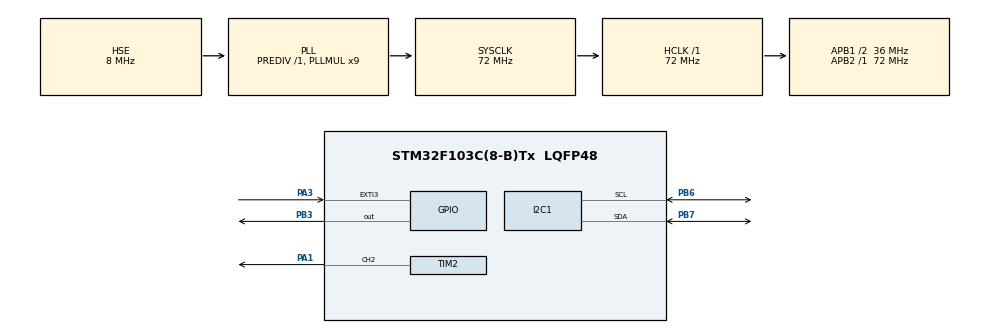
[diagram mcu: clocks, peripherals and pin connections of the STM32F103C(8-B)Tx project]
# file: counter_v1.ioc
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Mcu.Family=STM32F1
Mcu.Name=STM32F103C(8-B)Tx
Mcu.Package=LQFP48
NVIC.EXTI3_IRQn=true\:0\:0\:false\:false\:true\:true\:true\:true
NVIC.PriorityGroup=NVIC_PRIORITYGROUP_4
PA1.Signal=S_TIM2_CH2
PA13.Mode=Serial_Wire
PA13.Signal=SYS_JTMS-SWDIO
PA14.Mode=Serial_Wire
PA14.Signal=SYS_JTCK-SWCLK
PA3.GPIO_ModeDefaultEXTI=GPIO_MODE_IT_FALLING
PA3.GPIO_PuPd=GPIO_NOPULL
PA3.Signal=GPXTI3
PB3.Signal=GPIO_Output
PB6.Mode=I2C
PB6.Signal=I2C1_SCL
PB7.Mode=I2C
PB7.Signal=I2C1_SDA
PD0-OSC_IN.Mode=HSE-External-Oscillator
PD0-OSC_IN.Signal=RCC_OSC_IN
PD1-OSC_OUT.Mode=HSE-External-Oscillator
PD1-OSC_OUT.Signal=RCC_OSC_OUT
ProjectManager.HeapSize=0x200
ProjectManager.StackSize=0x400
ProjectManager.TargetToolchain=MDK-ARM V5.32
RCC.ADCPresc=RCC_ADCPCLK2_DIV6
RCC.AHBFreq_Value=72000000
RCC.APB1CLKDivider=RCC_HCLK_DIV2
RCC.APB1Freq_Value=36000000
RCC.APB1TimFreq_Value=72000000
RCC.APB2Freq_Value=72000000
RCC.APB2TimFreq_Value=72000000
RCC.HCLKFreq_Value=72000000
RCC.PLLMUL=RCC_PLL_MUL9
RCC.PLLSourceVirtual=RCC_PLLSOURCE_HSE
RCC.SYSCLKFreq_VALUE=72000000
RCC.SYSCLKSource=RCC_SYSCLKSOURCE_PLLCLK
RCC.USBFreq_Value=72000000
SH.S_TIM2_CH2.0=TIM2_CH2,PWM Generation2 CH2
TIM2.AutoReloadPreload=TIM_AUTORELOAD_PRELOAD_ENABLE
TIM2.Channel-PWM\ Generation2\ CH2=TIM_CHANNEL_2
TIM2.Period=1894
TIM2.Prescaler=1
TIM2.Pulse-PWM\ Generation2\ CH2=947
board=custom

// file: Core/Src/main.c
/* USER CODE BEGIN Header */
/**
  ******************************************************************************
  * @file           : main.c
  * @brief          : Main program body
  ******************************************************************************
  * @attention
  *
  * Copyright (c) 2025 STMicroelectronics.
  * All rights reserved.
  *
  * This software is licensed under terms that can be found in the LICENSE file
  * in the root directory of this software component.
  * If no LICENSE file comes with this software, it is provided AS-IS.
  *
  ******************************************************************************
  */
/* USER CODE END Header */
#include "main.h"

/* USER CODE BEGIN Includes */
#include "i2c_lcd.h"
volatile int count_drops = 0;
/* USER CODE END Includes */

I2C_HandleTypeDef hi2c1;

TIM_HandleTypeDef htim2;

void SystemClock_Config(void);
static void MX_GPIO_Init(void);
static void MX_TIM2_Init(void);
static void MX_I2C1_Init(void);
/* USER CODE BEGIN PFP */
I2C_LCD_HandleTypeDef lcd;
void init_lcd(void) {
    lcd.hi2c = &hi2c1;     // hi2c1 is your I2C handler
    lcd.address = 0x4e;    // I2C address for the first LCD
    lcd_init(&lcd);        // Initialize the first LCD
}
/* USER CODE END PFP */

/* USER CODE BEGIN 0 */
void HAL_GPIO_EXTI_Callback(uint16_t GPIO_Pin)
{
    if (GPIO_Pin == GPIO_PIN_3)
    {
				count_drops++;
				HAL_GPIO_TogglePin(GPIOB,GPIO_PIN_3);
    }
}
/* USER CODE END 0 */

int main(void)
{

  /* MCU Configuration--------------------------------------------------------*/

  /* Reset of all peripherals, Initializes the Flash interface and the Systick. */
  HAL_Init();

  /* USER CODE BEGIN Init */
  /* Reset of all peripherals, Initializes the Flash interface and the Systick. */
  HAL_Init();

  /* USER CODE END Init */

  /* Configure the system clock */
  SystemClock_Config();

  /* Initialize all configured peripherals */
  MX_GPIO_Init();
  MX_TIM2_Init();
  MX_I2C1_Init();
  /* USER CODE BEGIN 2 */
	init_lcd();
	lcd_gotoxy(&lcd, 1, 0);
	lcd_puts(&lcd, "Count:");
  /* USER CODE END 2 */

  /* Infinite loop */
  /* USER CODE BEGIN WHILE */
	HAL_TIM_PWM_Start(&htim2,TIM_CHANNEL_2);
  while (1)
  {
    /* USER CODE END WHILE */

    /* USER CODE BEGIN 3 */
		lcd_clear_from(&lcd,0,7);
		lcd_gotoxy(&lcd, 7, 1);
		lcd_put_number(&lcd,count_drops);
		HAL_Delay(100);

	}
  /* USER CODE END 3 */
}

void SystemClock_Config(void)
{
  RCC_OscInitTypeDef RCC_OscInitStruct = {0};
  RCC_ClkInitTypeDef RCC_ClkInitStruct = {0};

  /** Initializes the RCC Oscillators according to the specified parameters
  * in the RCC_OscInitTypeDef structure.
  */
  RCC_OscInitStruct.OscillatorType = RCC_OSCILLATORTYPE_HSE;
  RCC_OscInitStruct.HSEState = RCC_HSE_ON;
  RCC_OscInitStruct.HSEPredivValue = RCC_HSE_PREDIV_DIV1;
  RCC_OscInitStruct.HSIState = RCC_HSI_ON;
  RCC_OscInitStruct.PLL.PLLState = RCC_PLL_ON;
  RCC_OscInitStruct.PLL.PLLSource = RCC_PLLSOURCE_HSE;
  RCC_OscInitStruct.PLL.PLLMUL = RCC_PLL_MUL9;
  if (HAL_RCC_OscConfig(&RCC_OscInitStruct) != HAL_OK)
  {
    Error_Handler();
  }

  /** Initializes the CPU, AHB and APB buses clocks
  */
  RCC_ClkInitStruct.ClockType = RCC_CLOCKTYPE_HCLK|RCC_CLOCKTYPE_SYSCLK
                              |RCC_CLOCKTYPE_PCLK1|RCC_CLOCKTYPE_PCLK2;
  RCC_ClkInitStruct.SYSCLKSource = RCC_SYSCLKSOURCE_PLLCLK;
  RCC_ClkInitStruct.AHBCLKDivider = RCC_SYSCLK_DIV1;
  RCC_ClkInitStruct.APB1CLKDivider = RCC_HCLK_DIV2;
  RCC_ClkInitStruct.APB2CLKDivider = RCC_HCLK_DIV1;

  if (HAL_RCC_ClockConfig(&RCC_ClkInitStruct, FLASH_LATENCY_2) != HAL_OK)
  {
    Error_Handler();
  }
}

static void MX_I2C1_Init(void)
{

  hi2c1.Instance = I2C1;
  hi2c1.Init.ClockSpeed = 100000;
  hi2c1.Init.DutyCycle = I2C_DUTYCYCLE_2;
  hi2c1.Init.OwnAddress1 = 0;
  hi2c1.Init.AddressingMode = I2C_ADDRESSINGMODE_7BIT;
  hi2c1.Init.DualAddressMode = I2C_DUALADDRESS_DISABLE;
  hi2c1.Init.OwnAddress2 = 0;
  hi2c1.Init.GeneralCallMode = I2C_GENERALCALL_DISABLE;
  hi2c1.Init.NoStretchMode = I2C_NOSTRETCH_DISABLE;
  if (HAL_I2C_Init(&hi2c1) != HAL_OK)
  {
    Error_Handler();
  }

}

static void MX_TIM2_Init(void)
{

  TIM_MasterConfigTypeDef sMasterConfig = {0};
  TIM_OC_InitTypeDef sConfigOC = {0};

  htim2.Instance = TIM2;
  htim2.Init.Prescaler = 1;
  htim2.Init.CounterMode = TIM_COUNTERMODE_UP;
  htim2.Init.Period = 1894;
  htim2.Init.ClockDivision = TIM_CLOCKDIVISION_DIV1;
  htim2.Init.AutoReloadPreload = TIM_AUTORELOAD_PRELOAD_ENABLE;
  if (HAL_TIM_PWM_Init(&htim2) != HAL_OK)
  {
    Error_Handler();
  }
  sMasterConfig.MasterOutputTrigger = TIM_TRGO_RESET;
  sMasterConfig.MasterSlaveMode = TIM_MASTERSLAVEMODE_DISABLE;
  if (HAL_TIMEx_MasterConfigSynchronization(&htim2, &sMasterConfig) != HAL_OK)
  {
    Error_Handler();
  }
  sConfigOC.OCMode = TIM_OCMODE_PWM1;
  sConfigOC.Pulse = 947;
  sConfigOC.OCPolarity = TIM_OCPOLARITY_HIGH;
  sConfigOC.OCFastMode = TIM_OCFAST_DISABLE;
  if (HAL_TIM_PWM_ConfigChannel(&htim2, &sConfigOC, TIM_CHANNEL_2) != HAL_OK)
  {
    Error_Handler();
  }
  HAL_TIM_MspPostInit(&htim2);

}

static void MX_GPIO_Init(void)
{
  GPIO_InitTypeDef GPIO_InitStruct = {0};

  /* GPIO Ports Clock Enable */
  __HAL_RCC_GPIOD_CLK_ENABLE();
  __HAL_RCC_GPIOA_CLK_ENABLE();
  __HAL_RCC_GPIOB_CLK_ENABLE();

  /*Configure GPIO pin Output Level */
  HAL_GPIO_WritePin(GPIOB, GPIO_PIN_3, GPIO_PIN_RESET);

  /*Configure GPIO pin : PA3 */
  GPIO_InitStruct.Pin = GPIO_PIN_3;
  GPIO_InitStruct.Mode = GPIO_MODE_IT_FALLING;
  GPIO_InitStruct.Pull = GPIO_NOPULL;
  HAL_GPIO_Init(GPIOA, &GPIO_InitStruct);

  /*Configure GPIO pin : PB3 */
  GPIO_InitStruct.Pin = GPIO_PIN_3;
  GPIO_InitStruct.Mode = GPIO_MODE_OUTPUT_PP;
  GPIO_InitStruct.Pull = GPIO_NOPULL;
  GPIO_InitStruct.Speed = GPIO_SPEED_FREQ_LOW;
  HAL_GPIO_Init(GPIOB, &GPIO_InitStruct);

  /* EXTI interrupt init*/
  HAL_NVIC_SetPriority(EXTI3_IRQn, 0, 0);
  HAL_NVIC_EnableIRQ(EXTI3_IRQn);

}

void Error_Handler(void)
{
  __disable_irq();
  while (1)
  {
  }
}
